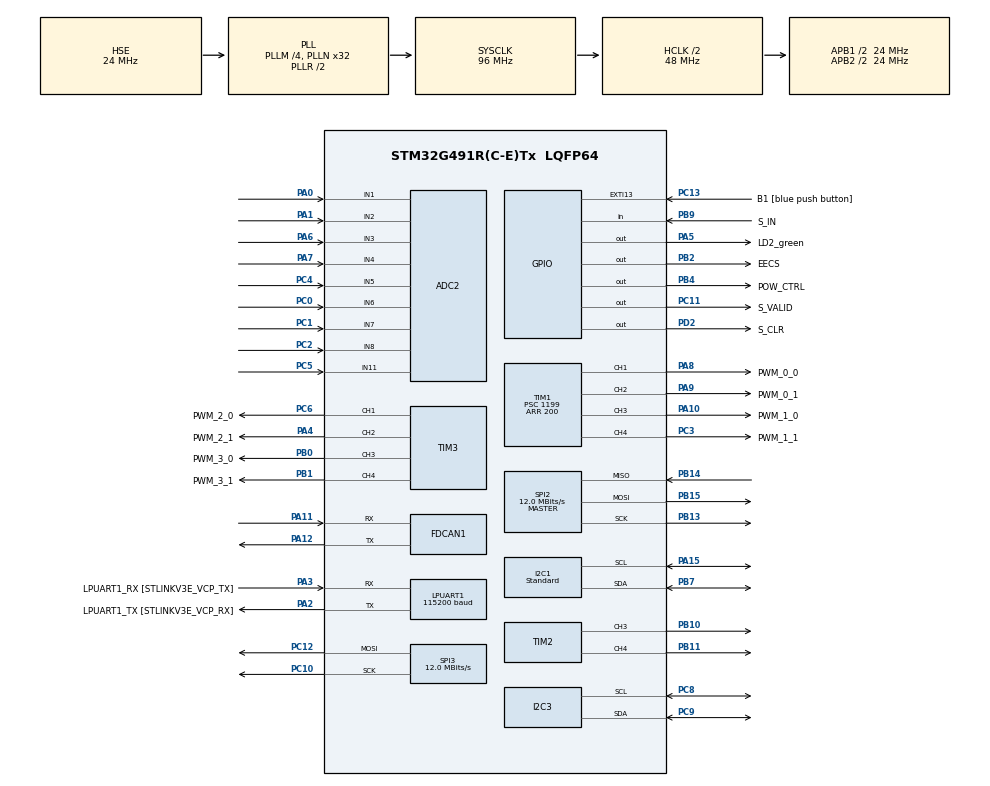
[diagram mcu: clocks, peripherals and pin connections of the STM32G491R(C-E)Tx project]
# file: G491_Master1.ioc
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ADC2.Channel-0\#ChannelRegularConversion=ADC_CHANNEL_1
ADC2.NbrOfConversionFlag=1
ADC2.OffsetNumber-0\#ChannelRegularConversion=ADC_OFFSET_NONE
ADC2.Rank-0\#ChannelRegularConversion=1
ADC2.SamplingTime-0\#ChannelRegularConversion=ADC_SAMPLETIME_2CYCLES_5
Dma.LPUART1_TX.0.Direction=DMA_MEMORY_TO_PERIPH
Dma.LPUART1_TX.0.EventEnable=DISABLE
Dma.LPUART1_TX.0.Instance=DMA1_Channel2
Dma.LPUART1_TX.0.MemDataAlignment=DMA_MDATAALIGN_BYTE
Dma.LPUART1_TX.0.MemInc=DMA_MINC_ENABLE
Dma.LPUART1_TX.0.Mode=DMA_NORMAL
Dma.LPUART1_TX.0.PeriphDataAlignment=DMA_PDATAALIGN_BYTE
Dma.LPUART1_TX.0.PeriphInc=DMA_PINC_DISABLE
Dma.LPUART1_TX.0.Polarity=HAL_DMAMUX_REQ_GEN_RISING
Dma.LPUART1_TX.0.Priority=DMA_PRIORITY_LOW
Dma.LPUART1_TX.0.RequestNumber=1
Dma.LPUART1_TX.0.SignalID=NONE
Dma.LPUART1_TX.0.SyncEnable=DISABLE
Dma.LPUART1_TX.0.SyncPolarity=HAL_DMAMUX_SYNC_NO_EVENT
Dma.LPUART1_TX.0.SyncRequestNumber=1
Dma.LPUART1_TX.0.SyncSignalID=NONE
Dma.Request0=LPUART1_TX
Dma.Request1=SPI3_TX
Dma.SPI3_TX.1.Direction=DMA_MEMORY_TO_PERIPH
Dma.SPI3_TX.1.EventEnable=DISABLE
Dma.SPI3_TX.1.Instance=DMA1_Channel1
Dma.SPI3_TX.1.MemDataAlignment=DMA_MDATAALIGN_BYTE
Dma.SPI3_TX.1.MemInc=DMA_MINC_ENABLE
Dma.SPI3_TX.1.Mode=DMA_NORMAL
Dma.SPI3_TX.1.PeriphDataAlignment=DMA_PDATAALIGN_BYTE
Dma.SPI3_TX.1.PeriphInc=DMA_PINC_DISABLE
Dma.SPI3_TX.1.Polarity=HAL_DMAMUX_REQ_GEN_RISING
Dma.SPI3_TX.1.Priority=DMA_PRIORITY_LOW
Dma.SPI3_TX.1.RequestNumber=1
Dma.SPI3_TX.1.SignalID=NONE
Dma.SPI3_TX.1.SyncEnable=DISABLE
Dma.SPI3_TX.1.SyncPolarity=HAL_DMAMUX_SYNC_NO_EVENT
Dma.SPI3_TX.1.SyncRequestNumber=1
Dma.SPI3_TX.1.SyncSignalID=NONE
FDCAN1.AutoRetransmission=ENABLE
FDCAN1.CalculateBaudRateNominal=2000000
FDCAN1.CalculateTimeBitNominal=500
FDCAN1.CalculateTimeQuantumNominal=83.33333333333333
FDCAN1.ClockDivider=FDCAN_CLOCK_DIV2
FDCAN1.NominalPrescaler=1
FDCAN1.NominalTimeSeg2=3
FDCAN1.TxFifoQueueMode=FDCAN_TX_FIFO_OPERATION
FREERTOS.INCLUDE_vTaskDelayUntil=1
FREERTOS.MEMORY_ALLOCATION=1
FREERTOS.Tasks01=uiTask,-1,256,StartUiTask,As weak,NULL,Static,uiTaskBuffer,uiTaskControlBlock;ctrlTask,2,256,StartCtrlTask,As external,NULL,Static,ctrlTaskBuffer,ctrlTaskControlBlock;ina3221_task,1,172,ina3221_task_start,As external,NULL,Static,ina3221TaskBuffer,ina3221TaskControlBlock;ledTask,3,128,start_led_task,As external,NULL,Static,ledTaskBuffer,ledTaskControlBlock;oscillo,0,128,StartOscillo,As external,NULL,Static,oscilloTaskBuffer,oscilloTaskControlBlock;oamTask,-2,256,StartOamTask,As external,NULL,Static,oamTaskBuffer,oamTaskControlBlock;usbTask,-2,128,StartUsbTask,As external,NULL,Static,usbTaskBuffer,usbTaskControlBlock
FREERTOS.configGENERATE_RUN_TIME_STATS=1
FREERTOS.configUSE_TRACE_FACILITY=1
I2C1.I2C_Speed_Mode=I2C_Standard
I2C1.Timing=0x00506682
I2C3.Timing=0x00506682
LPUART1.BaudRate=115200
LPUART1.ClockPrescaler=UART_PRESCALER_DIV8
LPUART1.FIFOMode=UART_FIFOMODE_ENABLE
LPUART1.OneBitSampling=UART_ONE_BIT_SAMPLE_ENABLE
LPUART1.Parity=UART_PARITY_NONE
LPUART1.RXFIFOThreshold=UART_RXFIFO_THRESHOLD_1_2
LPUART1.WordLength=UART_WORDLENGTH_8B
Mcu.Family=STM32G4
Mcu.Name=STM32G491R(C-E)Tx
Mcu.Package=LQFP64
NVIC.DMA1_Channel1_IRQn=true\:5\:0\:false\:false\:true\:true\:false\:true\:true
NVIC.DMA1_Channel2_IRQn=true\:5\:0\:true\:false\:true\:true\:false\:true\:true
NVIC.EXTI15_10_IRQn=true\:5\:0\:false\:false\:true\:true\:true\:true\:true
NVIC.LPUART1_IRQn=true\:5\:0\:false\:false\:true\:true\:true\:true\:true
NVIC.PriorityGroup=NVIC_PRIORITYGROUP_4
NVIC.TIM1_TRG_COM_TIM17_IRQn=true\:5\:0\:false\:false\:true\:true\:true\:true\:true
NVIC.TIM1_UP_TIM16_IRQn=true\:5\:0\:false\:false\:true\:true\:true\:true\:true
NVIC.TIM7_IRQn=true\:15\:0\:false\:false\:true\:false\:false\:true\:true
NVIC.TIM8_UP_IRQn=true\:5\:0\:false\:false\:true\:true\:true\:true\:true
NVIC.TimeBase=TIM7_IRQn
NVIC.TimeBaseIP=TIM7
PA0.Mode=IN1-Single-Ended
PA0.Signal=ADC2_IN1
PA1.Mode=IN2-Single-Ended
PA1.Signal=ADC2_IN2
PA10.GPIO_Label=PWM_1_0
PA10.Signal=S_TIM1_CH3
PA11.Mode=FDCAN_Activate
PA11.Signal=FDCAN1_RX
PA12.Mode=FDCAN_Activate
PA12.Signal=FDCAN1_TX
PA13.GPIO_Label=T_SWDIO
PA13.Mode=Trace_Asynchronous_SW
PA13.Signal=SYS_JTMS-SWDIO
PA14.GPIO_Label=T_SWCLK
PA14.Mode=Trace_Asynchronous_SW
PA14.Signal=SYS_JTCK-SWCLK
PA15.Mode=I2C
PA15.Signal=I2C1_SCL
PA2.GPIO_Label=LPUART1_TX [STLINKV3E_VCP_RX]
PA2.Mode=Asynchronous
PA2.Signal=LPUART1_TX
PA3.GPIO_Label=LPUART1_RX [STLINKV3E_VCP_TX]
PA3.Mode=Asynchronous
PA3.Signal=LPUART1_RX
PA4.GPIO_Label=PWM_2_1
PA4.Signal=S_TIM3_CH2
PA5.GPIO_Label=LD2_green
PA5.Signal=GPIO_Output
PA6.Mode=IN3-Single-Ended
PA6.Signal=ADC2_IN3
PA7.Mode=IN4-Single-Ended
PA7.Signal=ADC2_IN4
PA8.GPIO_Label=PWM_0_0
PA8.Signal=S_TIM1_CH1
PA9.GPIO_Label=PWM_0_1
PA9.Signal=S_TIM1_CH2
PB0.GPIO_Label=PWM_3_0
PB0.Signal=S_TIM3_CH3
PB1.GPIO_Label=PWM_3_1
PB1.Signal=S_TIM3_CH4
PB10.Signal=S_TIM2_CH3
PB11.Signal=S_TIM2_CH4
PB13.Mode=Full_Duplex_Master
PB13.Signal=SPI2_SCK
PB14.Mode=Full_Duplex_Master
PB14.Signal=SPI2_MISO
PB15.Mode=Full_Duplex_Master
PB15.Signal=SPI2_MOSI
PB2.GPIO_Label=EECS
PB2.Signal=GPIO_Output
PB3.GPIO_Label=T_SWO
PB3.Mode=Trace_Asynchronous_SW
PB3.Signal=SYS_JTDO-SWO
PB4.GPIO_Label=POW_CTRL
PB4.Signal=GPIO_Output
PB7.Mode=I2C
PB7.Signal=I2C1_SDA
PB9.GPIO_Label=S_IN
PB9.Signal=GPIO_Input
PC0.Mode=IN6-Single-Ended
PC0.Signal=ADC2_IN6
PC1.Mode=IN7-Single-Ended
PC1.Signal=ADC2_IN7
PC10.Mode=TX_Only_Simplex_Unidirect_Master
PC10.Signal=SPI3_SCK
PC11.GPIO_Label=S_VALID
PC11.Signal=GPIO_Output
PC12.Mode=TX_Only_Simplex_Unidirect_Master
PC12.Signal=SPI3_MOSI
PC13.GPIO_Label=B1 [blue push button]
PC13.Signal=GPXTI13
PC14-OSC32_IN.Mode=LSE-External-Oscillator
PC14-OSC32_IN.Signal=RCC_OSC32_IN
PC15-OSC32_OUT.Mode=LSE-External-Oscillator
PC15-OSC32_OUT.Signal=RCC_OSC32_OUT
PC2.Mode=IN8-Single-Ended
PC2.Signal=ADC2_IN8
PC3.GPIO_Label=PWM_1_1
PC3.Signal=S_TIM1_CH4
PC4.Mode=IN5-Single-Ended
PC4.Signal=ADC2_IN5
PC5.Mode=IN11-Single-Ended
PC5.Signal=ADC2_IN11
PC6.GPIO_Label=PWM_2_0
PC6.Signal=S_TIM3_CH1
PC8.Mode=I2C
PC8.Signal=I2C3_SCL
PC9.Mode=I2C
PC9.Signal=I2C3_SDA
PD2.GPIO_Label=S_CLR
PD2.Signal=GPIO_Output
PF0-OSC_IN.Mode=HSE-External-Oscillator
PF0-OSC_IN.Signal=RCC_OSC_IN
PF1-OSC_OUT.Mode=HSE-External-Oscillator
PF1-OSC_OUT.Signal=RCC_OSC_OUT
ProjectManager.HeapSize=0x200
ProjectManager.StackSize=0x400
ProjectManager.TargetToolchain=STM32CubeIDE
RCC.ADC12Freq_Value=96000000
RCC.ADC345Freq_Value=96000000
RCC.AHBCLKDivider=RCC_SYSCLK_DIV2
RCC.AHBFreq_Value=48000000
RCC.APB1CLKDivider=RCC_HCLK_DIV2
RCC.APB1Freq_Value=24000000
RCC.APB1TimFreq_Value=48000000
RCC.APB2CLKDivider=RCC_HCLK_DIV2
RCC.APB2Freq_Value=24000000
RCC.APB2TimFreq_Value=48000000
RCC.CortexFreq_Value=48000000
RCC.EXTERNAL_CLOCK_VALUE=12288000
RCC.HCLKFreq_Value=48000000
RCC.HSE_VALUE=24000000
RCC.HSI48_VALUE=48000000
RCC.HSI_VALUE=16000000
RCC.PLLM=RCC_PLLM_DIV4
RCC.PLLN=32
RCC.PLLQ=RCC_PLLQ_DIV4
RCC.PLLSourceVirtual=RCC_PLLSOURCE_HSE
RCC.RTCClockSelection=RCC_RTCCLKSOURCE_LSE
RCC.SYSCLKFreq_VALUE=96000000
RCC.SYSCLKSource=RCC_SYSCLKSOURCE_PLLCLK
RCC.USBFreq_Value=48000000
RCC.VCOOutputFreq_Value=192000000
SH.S_TIM1_CH1.0=TIM1_CH1,PWM Generation1 CH1
SH.S_TIM1_CH2.0=TIM1_CH2,PWM Generation2 CH2
SH.S_TIM1_CH3.0=TIM1_CH3,PWM Generation3 CH3
SH.S_TIM1_CH4.0=TIM1_CH4,PWM Generation4 CH4
SH.S_TIM2_CH3.0=TIM2_CH3,PWM Generation3 CH3
SH.S_TIM2_CH4.0=TIM2_CH4,PWM Generation4 CH4
SH.S_TIM3_CH1.0=TIM3_CH1,PWM Generation1 CH1
SH.S_TIM3_CH2.0=TIM3_CH2,PWM Generation2 CH2
SH.S_TIM3_CH3.0=TIM3_CH3,PWM Generation3 CH3
SH.S_TIM3_CH4.0=TIM3_CH4,PWM Generation4 CH4
SPI2.CalculateBaudRate=12.0 MBits/s
SPI2.Direction=SPI_DIRECTION_2LINES
SPI2.Mode=SPI_MODE_MASTER
SPI2.VirtualType=VM_MASTER
SPI3.CalculateBaudRate=12.0 MBits/s
SPI3.Direction=SPI_DIRECTION_2LINES
SPI3.Mode=SPI_MODE_MASTER
SPI3.VirtualType=VM_MASTER
TIM1.AutoReloadPreload=TIM_AUTORELOAD_PRELOAD_ENABLE
TIM1.Channel-PWM\ Generation1\ CH1=TIM_CHANNEL_1
TIM1.Channel-PWM\ Generation2\ CH2=TIM_CHANNEL_2
TIM1.Channel-PWM\ Generation3\ CH3=TIM_CHANNEL_3
TIM1.Channel-PWM\ Generation4\ CH4=TIM_CHANNEL_4
TIM1.CounterMode=TIM_COUNTERMODE_CENTERALIGNED3
TIM1.PeriodNoDither=200
TIM1.Prescaler=1199
TIM1.TIM_MasterOutputTrigger=TIM_TRGO_UPDATE
TIM1.TIM_MasterSlaveMode=TIM_MASTERSLAVEMODE_ENABLE
TIM17.AutoReloadPreload=TIM_AUTORELOAD_PRELOAD_ENABLE
TIM17.Channel=TIM_CHANNEL_1
TIM17.OCMode_1=TIM_OCMODE_ACTIVE
TIM17.PeriodNoDither=10000
TIM17.PulseNoDither_1=2900
TIM2.Channel-PWM\ Generation3\ CH3=TIM_CHANNEL_3
TIM2.Channel-PWM\ Generation4\ CH4=TIM_CHANNEL_4
TIM3.Channel-PWM\ Generation1\ CH1=TIM_CHANNEL_1
TIM3.Channel-PWM\ Generation2\ CH2=TIM_CHANNEL_2
TIM3.Channel-PWM\ Generation3\ CH3=TIM_CHANNEL_3
TIM3.Channel-PWM\ Generation4\ CH4=TIM_CHANNEL_4
TIM8.AutoReloadPreload=TIM_AUTORELOAD_PRELOAD_ENABLE
TIM8.PeriodNoDither=199
TIM8.Prescaler=1199
TIM8.TIM_MasterOutputTrigger=TIM_TRGO_UPDATE
TIM8.TIM_MasterSlaveMode=TIM_MASTERSLAVEMODE_DISABLE
VP_FREERTOS_VS_CMSIS_V1.Mode=CMSIS_V1
VP_RTC_VS_RTC_Activate.Mode=RTC_Enabled
VP_RTC_VS_RTC_Calendar.Mode=RTC_Calendar
VP_SYS_VS_DBSignals.Mode=DisableDeadBatterySignals
VP_SYS_VS_tim7.Mode=TIM7
VP_TIM17_VS_ClockSourceINT.Mode=Enable_Timer
VP_TIM17_VS_no_output1.Mode=Output Compare1 No Output
VP_TIM1_VS_ClockSourceINT.Mode=Internal
VP_TIM2_VS_ClockSourceINT.Mode=Internal
VP_TIM4_VS_ClockSourceINT.Mode=Internal
VP_TIM6_VS_ClockSourceINT.Mode=Enable_Timer
VP_TIM8_VS_ClockSourceINT.Mode=Internal
VP_TIM8_VS_ClockSourceITR.Mode=TriggerSource_ITR0
VP_TIM8_VS_ControllerModeReset.Mode=Reset Mode
board=NUCLEO-G491RE

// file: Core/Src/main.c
/* USER CODE BEGIN Header */
/**
  ******************************************************************************
  * @file           : main.c
  * @brief          : Main program body
  ******************************************************************************
  * @attention
  *
  * Copyright (c) 2023 STMicroelectronics.
  * All rights reserved.
  *
  * This software is licensed under terms that can be found in the LICENSE file
  * in the root directory of this software component.
  * If no LICENSE file comes with this software, it is provided AS-IS.
  *
  ******************************************************************************
  */
/* USER CODE END Header */
#include "main.h"
#include "cmsis_os.h"

/* USER CODE BEGIN Includes */
#include <memory.h>

#include "trainctl_iface.h"
//#include "traincontrol.h"
//#include "canton.h"
//#include "stm32/txrxtask.h"
#include "stm32/usbtask.h"
//#include "stm32/taskauto.h"
#include "stm32/taskctrl.h"
#include "stm32/taskdisp.h"
//#include "../../../stm32dev/ina3221/ina3221.h"
#include "msg/notif.h"
#include "config/conf_canton.h"
/* USER CODE END Includes */

/* USER CODE BEGIN PTD */
volatile uint8_t oscillo_evtt1;

/* USER CODE END PTD */

ADC_HandleTypeDef hadc2;

FDCAN_HandleTypeDef hfdcan1;

I2C_HandleTypeDef hi2c1;
I2C_HandleTypeDef hi2c3;

UART_HandleTypeDef hlpuart1;
DMA_HandleTypeDef hdma_lpuart1_tx;

RTC_HandleTypeDef hrtc;

SPI_HandleTypeDef hspi2;
SPI_HandleTypeDef hspi3;
DMA_HandleTypeDef hdma_spi3_tx;

TIM_HandleTypeDef htim1;
TIM_HandleTypeDef htim2;
TIM_HandleTypeDef htim3;
TIM_HandleTypeDef htim4;
TIM_HandleTypeDef htim6;
TIM_HandleTypeDef htim8;
TIM_HandleTypeDef htim17;

osThreadId uiTaskHandle;
uint32_t uiTaskBuffer[ 256 ];
osStaticThreadDef_t uiTaskControlBlock;
osThreadId ctrlTaskHandle;
uint32_t ctrlTaskBuffer[ 256 ];
osStaticThreadDef_t ctrlTaskControlBlock;
osThreadId ina3221_taskHandle;
uint32_t ina3221TaskBuffer[ 172 ];
osStaticThreadDef_t ina3221TaskControlBlock;
osThreadId ledTaskHandle;
uint32_t ledTaskBuffer[ 128 ];
osStaticThreadDef_t ledTaskControlBlock;
osThreadId oscilloHandle;
uint32_t oscilloTaskBuffer[ 128 ];
osStaticThreadDef_t oscilloTaskControlBlock;
osThreadId oamTaskHandle;
uint32_t oamTaskBuffer[ 256 ];
osStaticThreadDef_t oamTaskControlBlock;
osThreadId usbTaskHandle;
uint32_t usbTaskBuffer[ 128 ];
osStaticThreadDef_t usbTaskControlBlock;

void SystemClock_Config(void);
static void MX_GPIO_Init(void);
static void MX_DMA_Init(void);
static void MX_LPUART1_UART_Init(void);
static void MX_FDCAN1_Init(void);
static void MX_I2C1_Init(void);
static void MX_TIM1_Init(void);
static void MX_TIM3_Init(void);
static void MX_I2C3_Init(void);
static void MX_RTC_Init(void);
static void MX_TIM2_Init(void);
static void MX_TIM4_Init(void);
static void MX_TIM8_Init(void);
static void MX_TIM17_Init(void);
static void MX_SPI3_Init(void);
static void MX_ADC2_Init(void);
static void MX_SPI2_Init(void);
static void MX_TIM6_Init(void);
void StartUiTask(void const * argument);
extern void StartCtrlTask(void const * argument);
extern void ina3221_task_start(void const * argument);
extern void start_led_task(void const * argument);
extern void StartOscillo(void const * argument);
extern void StartOamTask(void const * argument);
extern void StartUsbTask(void const * argument);

/* USER CODE BEGIN PFP */

__weak void tim5_elapsed(void)
{

}
/* USER CODE END PFP */

int main(void)
{

  /* MCU Configuration--------------------------------------------------------*/

  /* Reset of all peripherals, Initializes the Flash interface and the Systick. */
  HAL_Init();

  /* Configure the system clock */
  SystemClock_Config();

  /* Initialize all configured peripherals */
  MX_GPIO_Init();
  MX_DMA_Init();
  MX_LPUART1_UART_Init();
  MX_FDCAN1_Init();
  MX_I2C1_Init();
  MX_TIM1_Init();
  MX_TIM3_Init();
  MX_I2C3_Init();
  MX_RTC_Init();
  MX_TIM2_Init();
  MX_TIM4_Init();
  MX_TIM8_Init();
  MX_TIM17_Init();
  MX_SPI3_Init();
  MX_ADC2_Init();
  MX_SPI2_Init();
  MX_TIM6_Init();

  /* Create the thread(s) */
  /* definition and creation of uiTask */
  osThreadStaticDef(uiTask, StartUiTask, osPriorityBelowNormal, 0, 256, uiTaskBuffer, &uiTaskControlBlock);
  uiTaskHandle = osThreadCreate(osThread(uiTask), NULL);

  /* definition and creation of ctrlTask */
  osThreadStaticDef(ctrlTask, StartCtrlTask, osPriorityHigh, 0, 256, ctrlTaskBuffer, &ctrlTaskControlBlock);
  ctrlTaskHandle = osThreadCreate(osThread(ctrlTask), NULL);

  /* definition and creation of ina3221_task */
  osThreadStaticDef(ina3221_task, ina3221_task_start, osPriorityAboveNormal, 0, 172, ina3221TaskBuffer, &ina3221TaskControlBlock);
  ina3221_taskHandle = osThreadCreate(osThread(ina3221_task), NULL);

  /* definition and creation of ledTask */
  osThreadStaticDef(ledTask, start_led_task, osPriorityRealtime, 0, 128, ledTaskBuffer, &ledTaskControlBlock);
  ledTaskHandle = osThreadCreate(osThread(ledTask), NULL);

  /* definition and creation of oscillo */
  osThreadStaticDef(oscillo, StartOscillo, osPriorityNormal, 0, 128, oscilloTaskBuffer, &oscilloTaskControlBlock);
  oscilloHandle = osThreadCreate(osThread(oscillo), NULL);

  /* definition and creation of oamTask */
  osThreadStaticDef(oamTask, StartOamTask, osPriorityLow, 0, 256, oamTaskBuffer, &oamTaskControlBlock);
  oamTaskHandle = osThreadCreate(osThread(oamTask), NULL);

  /* definition and creation of usbTask */
  osThreadStaticDef(usbTask, StartUsbTask, osPriorityLow, 0, 128, usbTaskBuffer, &usbTaskControlBlock);
  usbTaskHandle = osThreadCreate(osThread(usbTask), NULL);

  /* Start scheduler */
  osKernelStart();

  /* We should never get here as control is now taken by the scheduler */
  /* Infinite loop */
  while (1)
  {

  }
}

void SystemClock_Config(void)
{
  RCC_OscInitTypeDef RCC_OscInitStruct = {0};
  RCC_ClkInitTypeDef RCC_ClkInitStruct = {0};

  /** Configure the main internal regulator output voltage
  */
  HAL_PWREx_ControlVoltageScaling(PWR_REGULATOR_VOLTAGE_SCALE1);

  /** Configure LSE Drive Capability
  */
  HAL_PWR_EnableBkUpAccess();
  __HAL_RCC_LSEDRIVE_CONFIG(RCC_LSEDRIVE_LOW);

  /** Initializes the RCC Oscillators according to the specified parameters
  * in the RCC_OscInitTypeDef structure.
  */
  RCC_OscInitStruct.OscillatorType = RCC_OSCILLATORTYPE_HSE|RCC_OSCILLATORTYPE_LSE;
  RCC_OscInitStruct.HSEState = RCC_HSE_ON;
  RCC_OscInitStruct.LSEState = RCC_LSE_ON;
  RCC_OscInitStruct.PLL.PLLState = RCC_PLL_ON;
  RCC_OscInitStruct.PLL.PLLSource = RCC_PLLSOURCE_HSE;
  RCC_OscInitStruct.PLL.PLLM = RCC_PLLM_DIV4;
  RCC_OscInitStruct.PLL.PLLN = 32;
  RCC_OscInitStruct.PLL.PLLP = RCC_PLLP_DIV2;
  RCC_OscInitStruct.PLL.PLLQ = RCC_PLLQ_DIV4;
  RCC_OscInitStruct.PLL.PLLR = RCC_PLLR_DIV2;
  if (HAL_RCC_OscConfig(&RCC_OscInitStruct) != HAL_OK)
  {
    Error_Handler();
  }

  /** Initializes the CPU, AHB and APB buses clocks
  */
  RCC_ClkInitStruct.ClockType = RCC_CLOCKTYPE_HCLK|RCC_CLOCKTYPE_SYSCLK
                              |RCC_CLOCKTYPE_PCLK1|RCC_CLOCKTYPE_PCLK2;
  RCC_ClkInitStruct.SYSCLKSource = RCC_SYSCLKSOURCE_PLLCLK;
  RCC_ClkInitStruct.AHBCLKDivider = RCC_SYSCLK_DIV2;
  RCC_ClkInitStruct.APB1CLKDivider = RCC_HCLK_DIV2;
  RCC_ClkInitStruct.APB2CLKDivider = RCC_HCLK_DIV2;

  if (HAL_RCC_ClockConfig(&RCC_ClkInitStruct, FLASH_LATENCY_1) != HAL_OK)
  {
    Error_Handler();
  }
}

static void MX_ADC2_Init(void)
{

  ADC_ChannelConfTypeDef sConfig = {0};

  /** Common config
  */
  hadc2.Instance = ADC2;
  hadc2.Init.ClockPrescaler = ADC_CLOCK_SYNC_PCLK_DIV2;
  hadc2.Init.Resolution = ADC_RESOLUTION_12B;
  hadc2.Init.DataAlign = ADC_DATAALIGN_RIGHT;
  hadc2.Init.GainCompensation = 0;
  hadc2.Init.ScanConvMode = ADC_SCAN_DISABLE;
  hadc2.Init.EOCSelection = ADC_EOC_SINGLE_CONV;
  hadc2.Init.LowPowerAutoWait = DISABLE;
  hadc2.Init.ContinuousConvMode = DISABLE;
  hadc2.Init.NbrOfConversion = 1;
  hadc2.Init.DiscontinuousConvMode = DISABLE;
  hadc2.Init.ExternalTrigConv = ADC_SOFTWARE_START;
  hadc2.Init.ExternalTrigConvEdge = ADC_EXTERNALTRIGCONVEDGE_NONE;
  hadc2.Init.DMAContinuousRequests = DISABLE;
  hadc2.Init.Overrun = ADC_OVR_DATA_PRESERVED;
  hadc2.Init.OversamplingMode = DISABLE;
  if (HAL_ADC_Init(&hadc2) != HAL_OK)
  {
    Error_Handler();
  }

  /** Configure Regular Channel
  */
  sConfig.Channel = ADC_CHANNEL_1;
  sConfig.Rank = ADC_REGULAR_RANK_1;
  sConfig.SamplingTime = ADC_SAMPLETIME_2CYCLES_5;
  sConfig.SingleDiff = ADC_SINGLE_ENDED;
  sConfig.OffsetNumber = ADC_OFFSET_NONE;
  sConfig.Offset = 0;
  if (HAL_ADC_ConfigChannel(&hadc2, &sConfig) != HAL_OK)
  {
    Error_Handler();
  }

}

static void MX_FDCAN1_Init(void)
{

  hfdcan1.Instance = FDCAN1;
  hfdcan1.Init.ClockDivider = FDCAN_CLOCK_DIV2;
  hfdcan1.Init.FrameFormat = FDCAN_FRAME_CLASSIC;
  hfdcan1.Init.Mode = FDCAN_MODE_NORMAL;
  hfdcan1.Init.AutoRetransmission = ENABLE;
  hfdcan1.Init.TransmitPause = DISABLE;
  hfdcan1.Init.ProtocolException = DISABLE;
  hfdcan1.Init.NominalPrescaler = 1;
  hfdcan1.Init.NominalSyncJumpWidth = 1;
  hfdcan1.Init.NominalTimeSeg1 = 2;
  hfdcan1.Init.NominalTimeSeg2 = 3;
  hfdcan1.Init.DataPrescaler = 1;
  hfdcan1.Init.DataSyncJumpWidth = 1;
  hfdcan1.Init.DataTimeSeg1 = 1;
  hfdcan1.Init.DataTimeSeg2 = 1;
  hfdcan1.Init.StdFiltersNbr = 0;
  hfdcan1.Init.ExtFiltersNbr = 0;
  hfdcan1.Init.TxFifoQueueMode = FDCAN_TX_FIFO_OPERATION;
  if (HAL_FDCAN_Init(&hfdcan1) != HAL_OK)
  {
    Error_Handler();
  }

}

static void MX_I2C1_Init(void)
{

  hi2c1.Instance = I2C1;
  hi2c1.Init.Timing = 0x00506682;
  hi2c1.Init.OwnAddress1 = 0;
  hi2c1.Init.AddressingMode = I2C_ADDRESSINGMODE_7BIT;
  hi2c1.Init.DualAddressMode = I2C_DUALADDRESS_DISABLE;
  hi2c1.Init.OwnAddress2 = 0;
  hi2c1.Init.OwnAddress2Masks = I2C_OA2_NOMASK;
  hi2c1.Init.GeneralCallMode = I2C_GENERALCALL_DISABLE;
  hi2c1.Init.NoStretchMode = I2C_NOSTRETCH_DISABLE;
  if (HAL_I2C_Init(&hi2c1) != HAL_OK)
  {
    Error_Handler();
  }

  /** Configure Analogue filter
  */
  if (HAL_I2CEx_ConfigAnalogFilter(&hi2c1, I2C_ANALOGFILTER_ENABLE) != HAL_OK)
  {
    Error_Handler();
  }

  /** Configure Digital filter
  */
  if (HAL_I2CEx_ConfigDigitalFilter(&hi2c1, 0) != HAL_OK)
  {
    Error_Handler();
  }

}

static void MX_I2C3_Init(void)
{

  hi2c3.Instance = I2C3;
  hi2c3.Init.Timing = 0x00506682;
  hi2c3.Init.OwnAddress1 = 0;
  hi2c3.Init.AddressingMode = I2C_ADDRESSINGMODE_7BIT;
  hi2c3.Init.DualAddressMode = I2C_DUALADDRESS_DISABLE;
  hi2c3.Init.OwnAddress2 = 0;
  hi2c3.Init.OwnAddress2Masks = I2C_OA2_NOMASK;
  hi2c3.Init.GeneralCallMode = I2C_GENERALCALL_DISABLE;
  hi2c3.Init.NoStretchMode = I2C_NOSTRETCH_DISABLE;
  if (HAL_I2C_Init(&hi2c3) != HAL_OK)
  {
    Error_Handler();
  }

  /** Configure Analogue filter
  */
  if (HAL_I2CEx_ConfigAnalogFilter(&hi2c3, I2C_ANALOGFILTER_ENABLE) != HAL_OK)
  {
    Error_Handler();
  }

  /** Configure Digital filter
  */
  if (HAL_I2CEx_ConfigDigitalFilter(&hi2c3, 0) != HAL_OK)
  {
    Error_Handler();
  }

}

static void MX_LPUART1_UART_Init(void)
{

  hlpuart1.Instance = LPUART1;
  hlpuart1.Init.BaudRate = 115200;
  hlpuart1.Init.WordLength = UART_WORDLENGTH_8B;
  hlpuart1.Init.StopBits = UART_STOPBITS_1;
  hlpuart1.Init.Parity = UART_PARITY_NONE;
  hlpuart1.Init.Mode = UART_MODE_TX_RX;
  hlpuart1.Init.HwFlowCtl = UART_HWCONTROL_NONE;
  hlpuart1.Init.OneBitSampling = UART_ONE_BIT_SAMPLE_ENABLE;
  hlpuart1.Init.ClockPrescaler = UART_PRESCALER_DIV8;
  hlpuart1.AdvancedInit.AdvFeatureInit = UART_ADVFEATURE_NO_INIT;
  if (HAL_UART_Init(&hlpuart1) != HAL_OK)
  {
    Error_Handler();
  }
  if (HAL_UARTEx_SetTxFifoThreshold(&hlpuart1, UART_TXFIFO_THRESHOLD_1_8) != HAL_OK)
  {
    Error_Handler();
  }
  if (HAL_UARTEx_SetRxFifoThreshold(&hlpuart1, UART_RXFIFO_THRESHOLD_1_2) != HAL_OK)
  {
    Error_Handler();
  }
  if (HAL_UARTEx_EnableFifoMode(&hlpuart1) != HAL_OK)
  {
    Error_Handler();
  }

}

static void MX_RTC_Init(void)
{

  RTC_TimeTypeDef sTime = {0};
  RTC_DateTypeDef sDate = {0};

  /** Initialize RTC Only
  */
  hrtc.Instance = RTC;
  hrtc.Init.HourFormat = RTC_HOURFORMAT_24;
  hrtc.Init.AsynchPrediv = 127;
  hrtc.Init.SynchPrediv = 255;
  hrtc.Init.OutPut = RTC_OUTPUT_DISABLE;
  hrtc.Init.OutPutRemap = RTC_OUTPUT_REMAP_NONE;
  hrtc.Init.OutPutPolarity = RTC_OUTPUT_POLARITY_HIGH;
  hrtc.Init.OutPutType = RTC_OUTPUT_TYPE_OPENDRAIN;
  hrtc.Init.OutPutPullUp = RTC_OUTPUT_PULLUP_NONE;
  if (HAL_RTC_Init(&hrtc) != HAL_OK)
  {
    Error_Handler();
  }

  /** Initialize RTC and set the Time and Date
  */
  sTime.Hours = 0x0;
  sTime.Minutes = 0x0;
  sTime.Seconds = 0x0;
  sTime.SubSeconds = 0x0;
  sTime.DayLightSaving = RTC_DAYLIGHTSAVING_NONE;
  sTime.StoreOperation = RTC_STOREOPERATION_RESET;
  if (HAL_RTC_SetTime(&hrtc, &sTime, RTC_FORMAT_BCD) != HAL_OK)
  {
    Error_Handler();
  }
  sDate.WeekDay = RTC_WEEKDAY_MONDAY;
  sDate.Month = RTC_MONTH_JANUARY;
  sDate.Date = 0x1;
  sDate.Year = 0x0;

  if (HAL_RTC_SetDate(&hrtc, &sDate, RTC_FORMAT_BCD) != HAL_OK)
  {
    Error_Handler();
  }

}

static void MX_SPI2_Init(void)
{

  /* SPI2 parameter configuration*/
  hspi2.Instance = SPI2;
  hspi2.Init.Mode = SPI_MODE_MASTER;
  hspi2.Init.Direction = SPI_DIRECTION_2LINES;
  hspi2.Init.DataSize = SPI_DATASIZE_8BIT;
  hspi2.Init.CLKPolarity = SPI_POLARITY_LOW;
  hspi2.Init.CLKPhase = SPI_PHASE_1EDGE;
  hspi2.Init.NSS = SPI_NSS_SOFT;
  hspi2.Init.BaudRatePrescaler = SPI_BAUDRATEPRESCALER_2;
  hspi2.Init.FirstBit = SPI_FIRSTBIT_MSB;
  hspi2.Init.TIMode = SPI_TIMODE_DISABLE;
  hspi2.Init.CRCCalculation = SPI_CRCCALCULATION_DISABLE;
  hspi2.Init.CRCPolynomial = 7;
  hspi2.Init.CRCLength = SPI_CRC_LENGTH_DATASIZE;
  hspi2.Init.NSSPMode = SPI_NSS_PULSE_ENABLE;
  if (HAL_SPI_Init(&hspi2) != HAL_OK)
  {
    Error_Handler();
  }

}

static void MX_SPI3_Init(void)
{

  /* SPI3 parameter configuration*/
  hspi3.Instance = SPI3;
  hspi3.Init.Mode = SPI_MODE_MASTER;
  hspi3.Init.Direction = SPI_DIRECTION_2LINES;
  hspi3.Init.DataSize = SPI_DATASIZE_8BIT;
  hspi3.Init.CLKPolarity = SPI_POLARITY_LOW;
  hspi3.Init.CLKPhase = SPI_PHASE_1EDGE;
  hspi3.Init.NSS = SPI_NSS_SOFT;
  hspi3.Init.BaudRatePrescaler = SPI_BAUDRATEPRESCALER_2;
  hspi3.Init.FirstBit = SPI_FIRSTBIT_MSB;
  hspi3.Init.TIMode = SPI_TIMODE_DISABLE;
  hspi3.Init.CRCCalculation = SPI_CRCCALCULATION_DISABLE;
  hspi3.Init.CRCPolynomial = 7;
  hspi3.Init.CRCLength = SPI_CRC_LENGTH_DATASIZE;
  hspi3.Init.NSSPMode = SPI_NSS_PULSE_ENABLE;
  if (HAL_SPI_Init(&hspi3) != HAL_OK)
  {
    Error_Handler();
  }

}

static void MX_TIM1_Init(void)
{

  TIM_ClockConfigTypeDef sClockSourceConfig = {0};
  TIM_MasterConfigTypeDef sMasterConfig = {0};
  TIM_OC_InitTypeDef sConfigOC = {0};
  TIM_BreakDeadTimeConfigTypeDef sBreakDeadTimeConfig = {0};

  htim1.Instance = TIM1;
  htim1.Init.Prescaler = 1199;
  htim1.Init.CounterMode = TIM_COUNTERMODE_CENTERALIGNED3;
  htim1.Init.Period = 200;
  htim1.Init.ClockDivision = TIM_CLOCKDIVISION_DIV1;
  htim1.Init.RepetitionCounter = 0;
  htim1.Init.AutoReloadPreload = TIM_AUTORELOAD_PRELOAD_ENABLE;
  if (HAL_TIM_Base_Init(&htim1) != HAL_OK)
  {
    Error_Handler();
  }
  sClockSourceConfig.ClockSource = TIM_CLOCKSOURCE_INTERNAL;
  if (HAL_TIM_ConfigClockSource(&htim1, &sClockSourceConfig) != HAL_OK)
  {
    Error_Handler();
  }
  if (HAL_TIM_PWM_Init(&htim1) != HAL_OK)
  {
    Error_Handler();
  }
  sMasterConfig.MasterOutputTrigger = TIM_TRGO_UPDATE;
  sMasterConfig.MasterOutputTrigger2 = TIM_TRGO2_RESET;
  sMasterConfig.MasterSlaveMode = TIM_MASTERSLAVEMODE_ENABLE;
  if (HAL_TIMEx_MasterConfigSynchronization(&htim1, &sMasterConfig) != HAL_OK)
  {
    Error_Handler();
  }
  sConfigOC.OCMode = TIM_OCMODE_PWM1;
  sConfigOC.Pulse = 0;
  sConfigOC.OCPolarity = TIM_OCPOLARITY_HIGH;
  sConfigOC.OCNPolarity = TIM_OCNPOLARITY_HIGH;
  sConfigOC.OCFastMode = TIM_OCFAST_DISABLE;
  sConfigOC.OCIdleState = TIM_OCIDLESTATE_RESET;
  sConfigOC.OCNIdleState = TIM_OCNIDLESTATE_RESET;
  if (HAL_TIM_PWM_ConfigChannel(&htim1, &sConfigOC, TIM_CHANNEL_1) != HAL_OK)
  {
    Error_Handler();
  }
  if (HAL_TIM_PWM_ConfigChannel(&htim1, &sConfigOC, TIM_CHANNEL_2) != HAL_OK)
  {
    Error_Handler();
  }
  if (HAL_TIM_PWM_ConfigChannel(&htim1, &sConfigOC, TIM_CHANNEL_3) != HAL_OK)
  {
    Error_Handler();
  }
  if (HAL_TIM_PWM_ConfigChannel(&htim1, &sConfigOC, TIM_CHANNEL_4) != HAL_OK)
  {
    Error_Handler();
  }
  sBreakDeadTimeConfig.OffStateRunMode = TIM_OSSR_DISABLE;
  sBreakDeadTimeConfig.OffStateIDLEMode = TIM_OSSI_DISABLE;
  sBreakDeadTimeConfig.LockLevel = TIM_LOCKLEVEL_OFF;
  sBreakDeadTimeConfig.DeadTime = 0;
  sBreakDeadTimeConfig.BreakState = TIM_BREAK_DISABLE;
  sBreakDeadTimeConfig.BreakPolarity = TIM_BREAKPOLARITY_HIGH;
  sBreakDeadTimeConfig.BreakFilter = 0;
  sBreakDeadTimeConfig.BreakAFMode = TIM_BREAK_AFMODE_INPUT;
  sBreakDeadTimeConfig.Break2State = TIM_BREAK2_DISABLE;
  sBreakDeadTimeConfig.Break2Polarity = TIM_BREAK2POLARITY_HIGH;
  sBreakDeadTimeConfig.Break2Filter = 0;
  sBreakDeadTimeConfig.Break2AFMode = TIM_BREAK_AFMODE_INPUT;
  sBreakDeadTimeConfig.AutomaticOutput = TIM_AUTOMATICOUTPUT_DISABLE;
  if (HAL_TIMEx_ConfigBreakDeadTime(&htim1, &sBreakDeadTimeConfig) != HAL_OK)
  {
    Error_Handler();
  }
  HAL_TIM_MspPostInit(&htim1);

}

static void MX_TIM2_Init(void)
{

  TIM_ClockConfigTypeDef sClockSourceConfig = {0};
  TIM_MasterConfigTypeDef sMasterConfig = {0};
  TIM_OC_InitTypeDef sConfigOC = {0};

  htim2.Instance = TIM2;
  htim2.Init.Prescaler = 0;
  htim2.Init.CounterMode = TIM_COUNTERMODE_UP;
  htim2.Init.Period = 4.294967295E9;
  htim2.Init.ClockDivision = TIM_CLOCKDIVISION_DIV1;
  htim2.Init.AutoReloadPreload = TIM_AUTORELOAD_PRELOAD_DISABLE;
  if (HAL_TIM_Base_Init(&htim2) != HAL_OK)
  {
    Error_Handler();
  }
  sClockSourceConfig.ClockSource = TIM_CLOCKSOURCE_INTERNAL;
  if (HAL_TIM_ConfigClockSource(&htim2, &sClockSourceConfig) != HAL_OK)
  {
    Error_Handler();
  }
  if (HAL_TIM_PWM_Init(&htim2) != HAL_OK)
  {
    Error_Handler();
  }
  sMasterConfig.MasterOutputTrigger = TIM_TRGO_RESET;
  sMasterConfig.MasterSlaveMode = TIM_MASTERSLAVEMODE_DISABLE;
  if (HAL_TIMEx_MasterConfigSynchronization(&htim2, &sMasterConfig) != HAL_OK)
  {
    Error_Handler();
  }
  sConfigOC.OCMode = TIM_OCMODE_PWM1;
  sConfigOC.Pulse = 0;
  sConfigOC.OCPolarity = TIM_OCPOLARITY_HIGH;
  sConfigOC.OCFastMode = TIM_OCFAST_DISABLE;
  if (HAL_TIM_PWM_ConfigChannel(&htim2, &sConfigOC, TIM_CHANNEL_3) != HAL_OK)
  {
    Error_Handler();
  }
  if (HAL_TIM_PWM_ConfigChannel(&htim2, &sConfigOC, TIM_CHANNEL_4) != HAL_OK)
  {
    Error_Handler();
  }
  HAL_TIM_MspPostInit(&htim2);

}

static void MX_TIM3_Init(void)
{

  TIM_MasterConfigTypeDef sMasterConfig = {0};
  TIM_OC_InitTypeDef sConfigOC = {0};

  htim3.Instance = TIM3;
  htim3.Init.Prescaler = 0;
  htim3.Init.CounterMode = TIM_COUNTERMODE_UP;
  htim3.Init.Period = 65535;
  htim3.Init.ClockDivision = TIM_CLOCKDIVISION_DIV1;
  htim3.Init.AutoReloadPreload = TIM_AUTORELOAD_PRELOAD_DISABLE;
  if (HAL_TIM_PWM_Init(&htim3) != HAL_OK)
  {
    Error_Handler();
  }
  sMasterConfig.MasterOutputTrigger = TIM_TRGO_RESET;
  sMasterConfig.MasterSlaveMode = TIM_MASTERSLAVEMODE_DISABLE;
  if (HAL_TIMEx_MasterConfigSynchronization(&htim3, &sMasterConfig) != HAL_OK)
  {
    Error_Handler();
  }
  sConfigOC.OCMode = TIM_OCMODE_PWM1;
  sConfigOC.Pulse = 0;
  sConfigOC.OCPolarity = TIM_OCPOLARITY_HIGH;
  sConfigOC.OCFastMode = TIM_OCFAST_DISABLE;
  if (HAL_TIM_PWM_ConfigChannel(&htim3, &sConfigOC, TIM_CHANNEL_1) != HAL_OK)
  {
    Error_Handler();
  }
  if (HAL_TIM_PWM_ConfigChannel(&htim3, &sConfigOC, TIM_CHANNEL_2) != HAL_OK)
  {
    Error_Handler();
  }
  if (HAL_TIM_PWM_ConfigChannel(&htim3, &sConfigOC, TIM_CHANNEL_3) != HAL_OK)
  {
    Error_Handler();
  }
  if (HAL_TIM_PWM_ConfigChannel(&htim3, &sConfigOC, TIM_CHANNEL_4) != HAL_OK)
  {
    Error_Handler();
  }
  HAL_TIM_MspPostInit(&htim3);

}

static void MX_TIM4_Init(void)
{

  TIM_ClockConfigTypeDef sClockSourceConfig = {0};
  TIM_MasterConfigTypeDef sMasterConfig = {0};

  htim4.Instance = TIM4;
  htim4.Init.Prescaler = 0;
  htim4.Init.CounterMode = TIM_COUNTERMODE_UP;
  htim4.Init.Period = 65535;
  htim4.Init.ClockDivision = TIM_CLOCKDIVISION_DIV1;
  htim4.Init.AutoReloadPreload = TIM_AUTORELOAD_PRELOAD_DISABLE;
  if (HAL_TIM_Base_Init(&htim4) != HAL_OK)
  {
    Error_Handler();
  }
  sClockSourceConfig.ClockSource = TIM_CLOCKSOURCE_INTERNAL;
  if (HAL_TIM_ConfigClockSource(&htim4, &sClockSourceConfig) != HAL_OK)
  {
    Error_Handler();
  }
  sMasterConfig.MasterOutputTrigger = TIM_TRGO_RESET;
  sMasterConfig.MasterSlaveMode = TIM_MASTERSLAVEMODE_DISABLE;
  if (HAL_TIMEx_MasterConfigSynchronization(&htim4, &sMasterConfig) != HAL_OK)
  {
    Error_Handler();
  }

}

static void MX_TIM6_Init(void)
{

  TIM_MasterConfigTypeDef sMasterConfig = {0};

  htim6.Instance = TIM6;
  htim6.Init.Prescaler = 0;
  htim6.Init.CounterMode = TIM_COUNTERMODE_UP;
  htim6.Init.Period = 65535;
  htim6.Init.AutoReloadPreload = TIM_AUTORELOAD_PRELOAD_DISABLE;
  if (HAL_TIM_Base_Init(&htim6) != HAL_OK)
  {
    Error_Handler();
  }
  sMasterConfig.MasterOutputTrigger = TIM_TRGO_RESET;
  sMasterConfig.MasterSlaveMode = TIM_MASTERSLAVEMODE_DISABLE;
  if (HAL_TIMEx_MasterConfigSynchronization(&htim6, &sMasterConfig) != HAL_OK)
  {
    Error_Handler();
  }

}

static void MX_TIM8_Init(void)
{

  TIM_ClockConfigTypeDef sClockSourceConfig = {0};
  TIM_SlaveConfigTypeDef sSlaveConfig = {0};
  TIM_MasterConfigTypeDef sMasterConfig = {0};

  htim8.Instance = TIM8;
  htim8.Init.Prescaler = 1199;
  htim8.Init.CounterMode = TIM_COUNTERMODE_UP;
  htim8.Init.Period = 199;
  htim8.Init.ClockDivision = TIM_CLOCKDIVISION_DIV1;
  htim8.Init.RepetitionCounter = 0;
  htim8.Init.AutoReloadPreload = TIM_AUTORELOAD_PRELOAD_ENABLE;
  if (HAL_TIM_Base_Init(&htim8) != HAL_OK)
  {
    Error_Handler();
  }
  sClockSourceConfig.ClockSource = TIM_CLOCKSOURCE_INTERNAL;
  if (HAL_TIM_ConfigClockSource(&htim8, &sClockSourceConfig) != HAL_OK)
  {
    Error_Handler();
  }
  sSlaveConfig.SlaveMode = TIM_SLAVEMODE_RESET;
  sSlaveConfig.InputTrigger = TIM_TS_ITR0;
  if (HAL_TIM_SlaveConfigSynchro(&htim8, &sSlaveConfig) != HAL_OK)
  {
    Error_Handler();
  }
  sMasterConfig.MasterOutputTrigger = TIM_TRGO_UPDATE;
  sMasterConfig.MasterOutputTrigger2 = TIM_TRGO2_RESET;
  sMasterConfig.MasterSlaveMode = TIM_MASTERSLAVEMODE_DISABLE;
  if (HAL_TIMEx_MasterConfigSynchronization(&htim8, &sMasterConfig) != HAL_OK)
  {
    Error_Handler();
  }

}

static void MX_TIM17_Init(void)
{

  TIM_OC_InitTypeDef sConfigOC = {0};
  TIM_BreakDeadTimeConfigTypeDef sBreakDeadTimeConfig = {0};

  htim17.Instance = TIM17;
  htim17.Init.Prescaler = 0;
  htim17.Init.CounterMode = TIM_COUNTERMODE_UP;
  htim17.Init.Period = 10000;
  htim17.Init.ClockDivision = TIM_CLOCKDIVISION_DIV1;
  htim17.Init.RepetitionCounter = 0;
  htim17.Init.AutoReloadPreload = TIM_AUTORELOAD_PRELOAD_ENABLE;
  if (HAL_TIM_Base_Init(&htim17) != HAL_OK)
  {
    Error_Handler();
  }
  if (HAL_TIM_OC_Init(&htim17) != HAL_OK)
  {
    Error_Handler();
  }
  sConfigOC.OCMode = TIM_OCMODE_ACTIVE;
  sConfigOC.Pulse = 2900;
  sConfigOC.OCPolarity = TIM_OCPOLARITY_HIGH;
  sConfigOC.OCNPolarity = TIM_OCNPOLARITY_HIGH;
  sConfigOC.OCFastMode = TIM_OCFAST_DISABLE;
  sConfigOC.OCIdleState = TIM_OCIDLESTATE_RESET;
  sConfigOC.OCNIdleState = TIM_OCNIDLESTATE_RESET;
  if (HAL_TIM_OC_ConfigChannel(&htim17, &sConfigOC, TIM_CHANNEL_1) != HAL_OK)
  {
    Error_Handler();
  }
  sBreakDeadTimeConfig.OffStateRunMode = TIM_OSSR_DISABLE;
  sBreakDeadTimeConfig.OffStateIDLEMode = TIM_OSSI_DISABLE;
  sBreakDeadTimeConfig.LockLevel = TIM_LOCKLEVEL_OFF;
  sBreakDeadTimeConfig.DeadTime = 0;
  sBreakDeadTimeConfig.BreakState = TIM_BREAK_DISABLE;
  sBreakDeadTimeConfig.BreakPolarity = TIM_BREAKPOLARITY_HIGH;
  sBreakDeadTimeConfig.BreakFilter = 0;
  sBreakDeadTimeConfig.AutomaticOutput = TIM_AUTOMATICOUTPUT_DISABLE;
  if (HAL_TIMEx_ConfigBreakDeadTime(&htim17, &sBreakDeadTimeConfig) != HAL_OK)
  {
    Error_Handler();
  }

}

static void MX_DMA_Init(void)
{

  /* DMA controller clock enable */
  __HAL_RCC_DMAMUX1_CLK_ENABLE();
  __HAL_RCC_DMA1_CLK_ENABLE();

  /* DMA interrupt init */
  /* DMA1_Channel1_IRQn interrupt configuration */
  HAL_NVIC_SetPriority(DMA1_Channel1_IRQn, 5, 0);
  HAL_NVIC_EnableIRQ(DMA1_Channel1_IRQn);
  /* DMA1_Channel2_IRQn interrupt configuration */
  HAL_NVIC_SetPriority(DMA1_Channel2_IRQn, 5, 0);
  HAL_NVIC_EnableIRQ(DMA1_Channel2_IRQn);

}

static void MX_GPIO_Init(void)
{
  GPIO_InitTypeDef GPIO_InitStruct = {0};

  /* GPIO Ports Clock Enable */
  __HAL_RCC_GPIOC_CLK_ENABLE();
  __HAL_RCC_GPIOF_CLK_ENABLE();
  __HAL_RCC_GPIOA_CLK_ENABLE();
  __HAL_RCC_GPIOB_CLK_ENABLE();
  __HAL_RCC_GPIOD_CLK_ENABLE();

  /*Configure GPIO pin Output Level */
  HAL_GPIO_WritePin(LD2_green_GPIO_Port, LD2_green_Pin, GPIO_PIN_RESET);

  /*Configure GPIO pin Output Level */
  HAL_GPIO_WritePin(GPIOB, EECS_Pin|POW_CTRL_Pin, GPIO_PIN_RESET);

  /*Configure GPIO pin Output Level */
  HAL_GPIO_WritePin(S_VALID_GPIO_Port, S_VALID_Pin, GPIO_PIN_RESET);

  /*Configure GPIO pin Output Level */
  HAL_GPIO_WritePin(S_CLR_GPIO_Port, S_CLR_Pin, GPIO_PIN_RESET);

  /*Configure GPIO pin : B1_Pin */
  GPIO_InitStruct.Pin = B1_Pin;
  GPIO_InitStruct.Mode = GPIO_MODE_IT_RISING;
  GPIO_InitStruct.Pull = GPIO_NOPULL;
  HAL_GPIO_Init(B1_GPIO_Port, &GPIO_InitStruct);

  /*Configure GPIO pin : LD2_green_Pin */
  GPIO_InitStruct.Pin = LD2_green_Pin;
  GPIO_InitStruct.Mode = GPIO_MODE_OUTPUT_PP;
  GPIO_InitStruct.Pull = GPIO_NOPULL;
  GPIO_InitStruct.Speed = GPIO_SPEED_FREQ_LOW;
  HAL_GPIO_Init(LD2_green_GPIO_Port, &GPIO_InitStruct);

  /*Configure GPIO pins : EECS_Pin POW_CTRL_Pin */
  GPIO_InitStruct.Pin = EECS_Pin|POW_CTRL_Pin;
  GPIO_InitStruct.Mode = GPIO_MODE_OUTPUT_PP;
  GPIO_InitStruct.Pull = GPIO_NOPULL;
  GPIO_InitStruct.Speed = GPIO_SPEED_FREQ_LOW;
  HAL_GPIO_Init(GPIOB, &GPIO_InitStruct);

  /*Configure GPIO pin : S_VALID_Pin */
  GPIO_InitStruct.Pin = S_VALID_Pin;
  GPIO_InitStruct.Mode = GPIO_MODE_OUTPUT_PP;
  GPIO_InitStruct.Pull = GPIO_NOPULL;
  GPIO_InitStruct.Speed = GPIO_SPEED_FREQ_LOW;
  HAL_GPIO_Init(S_VALID_GPIO_Port, &GPIO_InitStruct);

  /*Configure GPIO pin : S_CLR_Pin */
  GPIO_InitStruct.Pin = S_CLR_Pin;
  GPIO_InitStruct.Mode = GPIO_MODE_OUTPUT_PP;
  GPIO_InitStruct.Pull = GPIO_NOPULL;
  GPIO_InitStruct.Speed = GPIO_SPEED_FREQ_LOW;
  HAL_GPIO_Init(S_CLR_GPIO_Port, &GPIO_InitStruct);

  /*Configure GPIO pin : S_IN_Pin */
  GPIO_InitStruct.Pin = S_IN_Pin;
  GPIO_InitStruct.Mode = GPIO_MODE_INPUT;
  GPIO_InitStruct.Pull = GPIO_NOPULL;
  HAL_GPIO_Init(S_IN_GPIO_Port, &GPIO_InitStruct);

  /* EXTI interrupt init*/
  HAL_NVIC_SetPriority(EXTI15_10_IRQn, 5, 0);
  HAL_NVIC_EnableIRQ(EXTI15_10_IRQn);

}

__weak void StartUiTask(void const * argument)
{
  for(;;)
  {
    osDelay(1);
  }
}

void HAL_TIM_PeriodElapsedCallback(TIM_HandleTypeDef *htim)
{
  if (htim->Instance == TIM7) {
    HAL_IncTick();
  }
  /* USER CODE BEGIN Callback 1 */

  if (htim->Instance == TIM17) { //htim5
	  tim5_elapsed();
  }
  if (htim->Instance == TIM8) {
	  itm_debug1(DBG_TIM, "tim8",0);
  }
  if (htim->Instance == TIM1) {
	  itm_debug1(DBG_TIM, "tim1",0);
	  //static int igncnt=0;
	  static uint32_t lasttick = 0;
	  uint32_t t1 = __HAL_TIM_GET_COUNTER(&htim1);
	  uint32_t t = HAL_GetTick();
	  if ((t1<50) && (t >= lasttick+5)) { // not faster than 50Hz (20ms), whatever the frequency is
		  lasttick = t;
		  oscillo_evtt1 = 1+t1;

		  BaseType_t higher=0;
		  xTaskNotifyFromISR(ina3221_taskHandle, NOTIF_INA_READ, eSetBits, &higher);
		  portYIELD_FROM_ISR(higher);

	  }
  }
  /* USER CODE END Callback 1 */
}

void Error_Handler(void)
{
  /* USER CODE BEGIN Error_Handler_Debug */
  /* User can add his own implementation to report the HAL error return state */
  FatalError("EH", "Error_Handler", Error_Other);
  while (1)
  {
  }
  /* USER CODE END Error_Handler_Debug */
}
